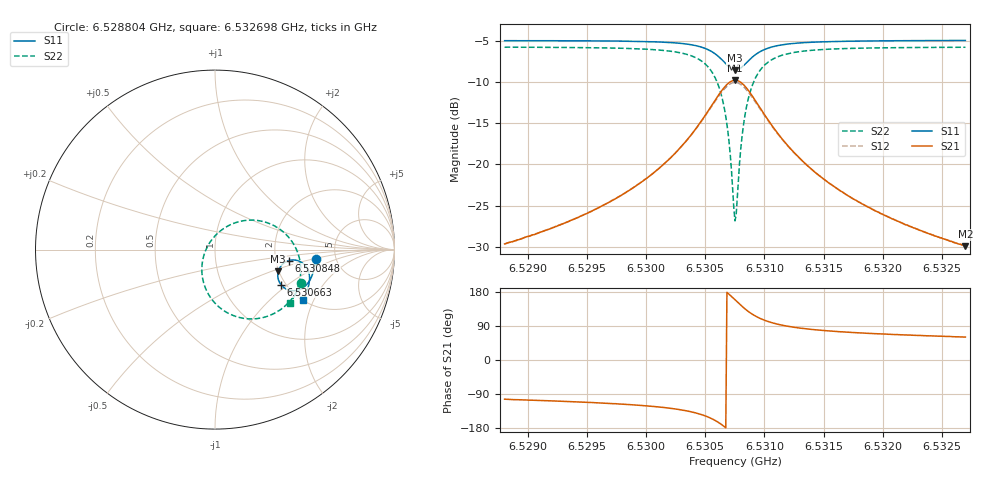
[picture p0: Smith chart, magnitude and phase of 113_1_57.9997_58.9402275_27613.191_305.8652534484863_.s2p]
#  HZ  S  RI  R  50.00
! Rohde & Schwarz Vector Network Analyzer
! Rohde-Schwarz,ZNB20-2Port,1311601062101988,3.16
! Created: UTC 3/21/2024, 12:55:17 AM
! freq[Hz]  re:S11  im:S11  re:S21  im:S21  re:S12  im:S12  re:S22  im:S22
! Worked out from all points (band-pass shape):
!   401 points, 6.528804 GHz to 6.532698 GHz, reference 50 ohm
!   highest |S21| = -9.79 dB at 6.530751 GHz (marker M1); lowest = -29.9 dB at 6.532698 GHz (marker M2)
!   |S21| within 3 dB of the highest: 6.530557 GHz to 6.530947 GHz (390.3 kHz wide, 0.00598 % of centre)
!   lowest |S11| = -8.6 dB at 6.530751 GHz (marker M3), VSWR 2.19, Z = 99.3 - j27.9 ohm
!   |S11| at or under -10 dB: nowhere
!   |S22| runs from -26.9 to -5.8 dB; largest |S21 - S12| = 0.013
!   S11 on the Smith chart (normalised r, x): 6.528804 GHz: 3.48, -0.56; 6.530663 GHz: 1.89, -0.89; 6.530848 GHz: 2.35, -0.35; 6.532698 GHz: 1.99, -1.66
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6.5288037e9  0.5606 -0.0545  -0.0076 -0.032  -0.00857 -0.0318  0.4802 -0.1838
6.5294561e9  0.5512 -0.11  -0.0175 -0.0455  -0.0187 -0.0452  0.4482 -0.2461
6.529826e9  0.54 -0.1457  -0.0307 -0.0599  -0.0322 -0.0593  0.4136 -0.2914
6.5301084e9  0.5238 -0.1779  -0.0528 -0.0784  -0.0551 -0.0768  0.363 -0.3356
6.5303323e9  0.4964 -0.2085  -0.0946 -0.0991  -0.0976 -0.0958  0.2784 -0.3758
6.5304978e9  0.4513 -0.2284  -0.1665 -0.1066  -0.1689 -0.0994  0.1459 -0.3806
6.5305952e9  0.4041 -0.2232  -0.2398 -0.0793  -0.239 -0.0688  0.0231 -0.3205
6.5306633e9  0.3668 -0.1947  -0.2943 -0.0182  -0.288 -0.00707  -0.0563 -0.2065
6.5306925e9  0.3552 -0.1733  -0.309 0.0227  -0.2999 0.0319  -0.0723 -0.1366
6.5307315e9  0.3498 -0.1387  -0.3107 0.0852  -0.2989 0.0913  -0.0624 -0.0332
6.530751e9  0.3527 -0.1208  -0.3019 0.117  -0.2898 0.1208  -0.0421 0.0169
6.5307607e9  0.3556 -0.1121  -0.2955 0.1322  -0.2832 0.1348  -0.0283 0.0403
6.5307704e9  0.3594 -0.1039  -0.2875 0.1464  -0.2754 0.148  -0.0125 0.062
6.5308094e9  0.3816 -0.0767  -0.2442 0.1924  -0.2339 0.1907  0.0669 0.1289
6.5308483e9  0.4098 -0.0616  -0.1929 0.2173  -0.1854 0.2138  0.1557 0.1606
6.5309165e9  0.4553 -0.06  -0.1133 0.2203  -0.1097 0.2168  0.2894 0.1502
6.5310138e9  0.4957 -0.0817  -0.0447 0.1884  -0.043 0.1864  0.4001 0.0799
6.5311599e9  0.5198 -0.1182  -0.00294 0.1396  -0.00167 0.1389  0.4614 -0.0194
6.5314033e9  0.527 -0.1622  0.0153 0.0915  0.0164 0.0913  0.4779 -0.1206
6.5316953e9  0.5223 -0.1985  0.0185 0.0625  0.0194 0.0623  0.4685 -0.1877
6.5320556e9  0.5119 -0.2331  0.0179 0.0441  0.0187 0.0439  0.4508 -0.2392
6.5326982e9  0.4888 -0.2833  0.0157 0.0277  0.0163 0.0276  0.4175 -0.2994
